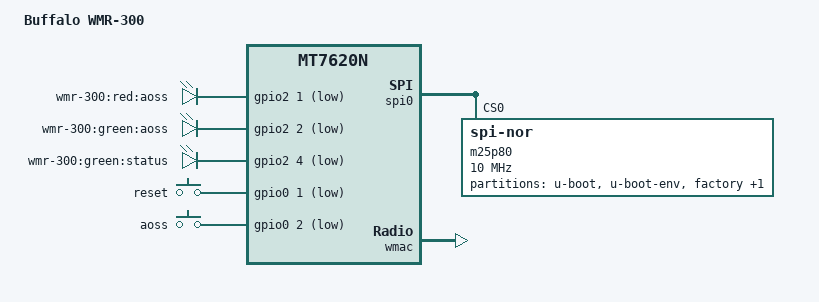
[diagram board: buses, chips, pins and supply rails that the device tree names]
/dts-v1/;

#include "mt7620n.dtsi"

#include <dt-bindings/gpio/gpio.h>
#include <dt-bindings/input/input.h>

/ {
	compatible = "buffalo,wmr-300", "ralink,mt7620n-soc";
	model = "Buffalo WMR-300";

	aliases {
		led-boot = &led_status;
		led-failsafe = &led_status;
		led-running = &led_status;
		led-upgrade = &led_status;
	};

	leds {
		compatible = "gpio-leds";

		aoss1 {
			label = "wmr-300:red:aoss";
			gpios = <&gpio2 1 GPIO_ACTIVE_LOW>;
		};

		aoss2 {
			label = "wmr-300:green:aoss";
			gpios = <&gpio2 2 GPIO_ACTIVE_LOW>;
		};

		led_status: status {
			label = "wmr-300:green:status";
			gpios = <&gpio2 4 GPIO_ACTIVE_LOW>;
		};
	};

	keys {
		compatible = "gpio-keys-polled";
		poll-interval = <20>;

		reset {
			label = "reset";
			gpios = <&gpio0 1 GPIO_ACTIVE_LOW>;
			linux,code = <KEY_RESTART>;
		};

		aoss {
			label = "aoss";
			gpios = <&gpio0 2 GPIO_ACTIVE_LOW>;
			linux,code = <KEY_WPS_BUTTON>;
		};
	};
};

&gpio2 {
	status = "okay";
};

&spi0 {
	status = "okay";

	m25p80@0 {
		compatible = "jedec,spi-nor";
		reg = <0>;
		spi-max-frequency = <10000000>;

		partitions {
			compatible = "fixed-partitions";
			#address-cells = <1>;
			#size-cells = <1>;

			partition@0 {
				label = "u-boot";
				reg = <0x0 0x30000>;
				read-only;
			};

			partition@30000 {
				label = "u-boot-env";
				reg = <0x30000 0x10000>;
				read-only;
			};

			factory: partition@40000 {
				label = "factory";
				reg = <0x40000 0x10000>;
				read-only;
			};

			partition@50000 {
				compatible = "denx,uimage";
				label = "firmware";
				reg = <0x50000 0x7b0000>;
			};
		};
	};
};

&ethernet {
	mtd-mac-address = <&factory 0x4>;
	mediatek,portmap = "wllll";
};

&wmac {
	ralink,mtd-eeprom = <&factory 0>;
};

&pinctrl {
	state_default: pinctrl0 {
		default {
			ralink,group = "i2c", "ephy";
			ralink,function = "gpio";
		};
	};
};
